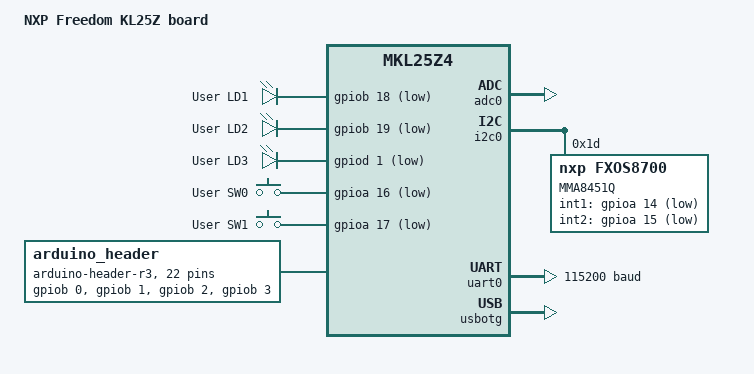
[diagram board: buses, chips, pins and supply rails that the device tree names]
/* SPDX-License-Identifier: Apache-2.0 */

/dts-v1/;

#include <nxp/nxp_kl25z.dtsi>
#include "frdm_kl25z-pinctrl.dtsi"

/ {
	model = "NXP Freedom KL25Z board";
	compatible = "nxp,frdm-kl25z", "nxp,kl25z", "nxp,mkl25z4";

	aliases {
		led0 = &green_led;
		led1 = &blue_led;
		led2 = &red_led;
		sw0 = &user_button_0;
		sw1 = &user_button_1;
	};

	chosen {
		zephyr,sram = &sram0;
		zephyr,flash = &flash0;
		zephyr,console = &uart0;
		zephyr,shell-uart = &uart0;
	};

	leds {
		compatible = "gpio-leds";
		red_led: led_0 {
			gpios = <&gpiob 18 GPIO_ACTIVE_LOW>;
			label = "User LD1";
		};
		green_led: led_1 {
			gpios = <&gpiob 19 GPIO_ACTIVE_LOW>;
			label = "User LD2";
		};
		blue_led: led_2 {
			gpios = <&gpiod 1 GPIO_ACTIVE_LOW>;
			label = "User LD3";
		};
	};

	gpio_keys {
		compatible = "gpio-keys";
		user_button_0: button_0 {
			label = "User SW0";
			gpios = <&gpioa 16 GPIO_ACTIVE_LOW>;
		};
		user_button_1: button_1 {
			label = "User SW1";
			gpios = <&gpioa 17 GPIO_ACTIVE_LOW>;
		};
	};

	arduino_header: connector {
		compatible = "arduino-header-r3";
		#gpio-cells = <2>;
		gpio-map-mask = <0xffffffff 0xffffffc0>;
		gpio-map-pass-thru = <0 0x3f>;
		gpio-map = <0 0 &gpiob 0 0>,	/* A0 */
			   <1 0 &gpiob 1 0>,	/* A1 */
			   <2 0 &gpiob 2 0>,	/* A2 */
			   <3 0 &gpiob 3 0>,	/* A3 */
			   <4 0 &gpioc 2 0>,	/* A4 */
			   <5 0 &gpioc 1 0>,	/* A5 */
			   <6 0 &gpioa 1 0>,	/* D0 */
			   <7 0 &gpioa 2 0>,	/* D1 */
			   <8 0 &gpiod 4 0>,	/* D2 */
			   <9 0 &gpioa 12 0>,	/* D3 */
			   <10 0 &gpioa 4 0>,	/* D4 */
			   <11 0 &gpioa 5 0>,	/* D5 */
			   <12 0 &gpioc 8 0>,	/* D6 */
			   <13 0 &gpioc 9 0>,	/* D7 */
			   <14 0 &gpioa 13 0>,	/* D8 */
			   <15 0 &gpiod 5 0>,	/* D9 */
			   <16 0 &gpiod 0 0>,	/* D10 */
			   <17 0 &gpiod 2 0>,	/* D11 */
			   <18 0 &gpiod 3 0>,	/* D12 */
			   <19 0 &gpiod 1 0>,	/* D13 */
			   <20 0 &gpioe 0 0>,	/* D14 */
			   <21 0 &gpioe 1 0>;	/* D15 */
	};
};

&sim {
	pllfll-select = <KINETIS_SIM_PLLFLLSEL_MCGPLLCLK>;
	er32k-select = <KINETIS_SIM_ER32KSEL_LPO1KHZ>;
};

&cpu0 {
	clock-frequency = <48000000>;
};

&adc0 {
	status = "okay";
	pinctrl-0 = <&adc0_default>;
	pinctrl-names = "default";
};

&i2c0 {
	status = "okay";
	pinctrl-0 = <&i2c0_default>;
	pinctrl-names = "default";

	mma8451q@1d {
		compatible = "nxp,fxos8700","nxp,mma8451q";
		reg = <0x1d>;
		label = "MMA8451Q";
		int1-gpios = <&gpioa 14 GPIO_ACTIVE_LOW>;
		int2-gpios = <&gpioa 15 GPIO_ACTIVE_LOW>;
	};
};

&uart0 {
	status = "okay";
	current-speed = <115200>;
	pinctrl-0 = <&uart0_default>;
	pinctrl-names = "default";
};

&gpioa {
	status = "okay";
};

&gpiob {
	status = "okay";
};

&gpiod {
	status = "okay";
};

zephyr_udc0: &usbotg {
	compatible = "nxp,kinetis-usbd";
	status = "okay";
	num-bidir-endpoints = <8>;
};
